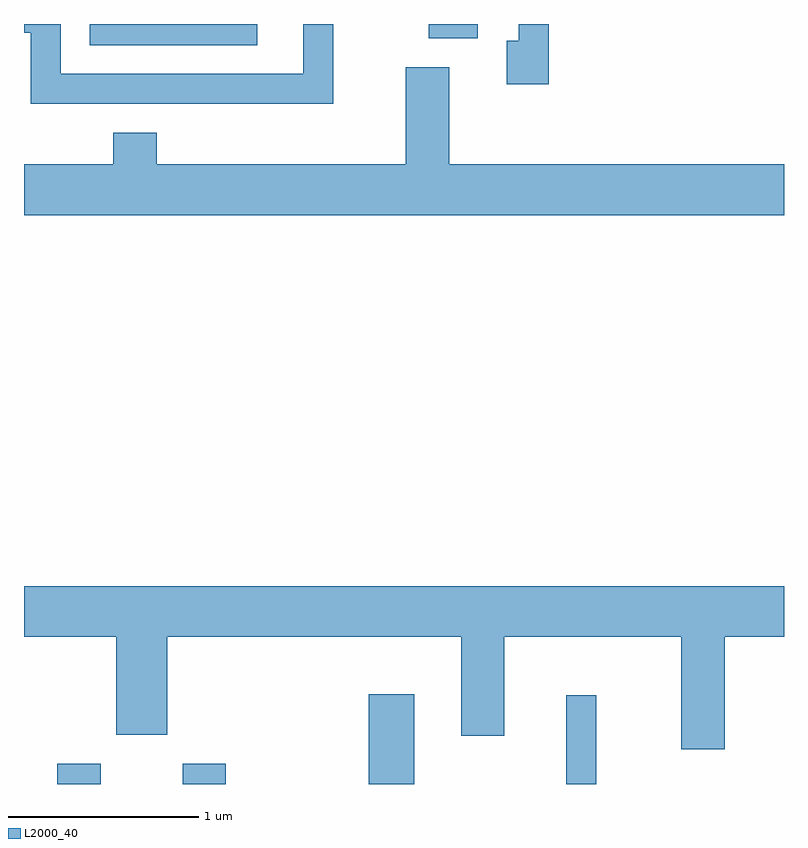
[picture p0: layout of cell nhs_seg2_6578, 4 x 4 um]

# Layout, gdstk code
import gdstk
lib = gdstk.Library(unit=1e-6, precision=1e-09)
def R(c, l, rs):  # rectangles x0, y0, x1, y1
    for r in rs: c.add(gdstk.rectangle(r[:2], r[2:], *l))
def P(c, l, *ps):  # polygons
    for p in ps: c.add(gdstk.Polygon(p, *l))
L2000_40 = (2000, 40)

nhs_seg2_6578 = lib.new_cell('nhs_seg2_6578')
R(nhs_seg2_6578, L2000_40, [(379.786,1009.802,380.014,1009.909), (380.446,1009.802,380.674,1009.909), (381.426,1009.802,381.664,1010.274), (382.466,1009.802,382.624,1010.268), (379.956,1013.691,380.838,1013.802), (381.741,1013.726,381.999,1013.802)])
P(nhs_seg2_6578, L2000_40, [(381.239,1013.802),(381.081,1013.802),(381.081,1013.539),(379.804,1013.539),(379.804,1013.802),(379.611,1013.802),(379.611,1013.756),(379.646,1013.756),(379.646,1013.381),(381.239,1013.381)],
  [(382.374,1013.802),(382.216,1013.802),(382.216,1013.714),(382.151,1013.714),(382.151,1013.486),(382.374,1013.486)],
  [(383.611,1013.064),(381.849,1013.064),(381.849,1013.574),(381.621,1013.574),(381.621,1013.064),(380.309,1013.064),(380.309,1013.229),(380.081,1013.229),(380.081,1013.064),(379.611,1013.064),(379.611,1012.796),(383.611,1012.796)],
  [(383.299,1010.576),(383.611,1010.576),(383.611,1010.844),(379.611,1010.844),(379.611,1010.576),(380.096,1010.576),(380.096,1010.061),(380.364,1010.061),(380.364,1010.576),(381.911,1010.576),(381.911,1010.056),(382.139,1010.056),(382.139,1010.576),(383.071,1010.576),(383.071,1009.986),(383.299,1009.986)])

lib.write_gds('nhs_seg2_6578.gds')
